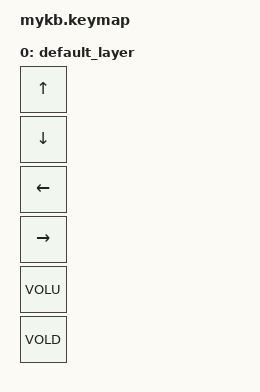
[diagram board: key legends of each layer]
#include <zmk/keys.h>
#include <zmk/behavior.h>

/ {
    keymap {
        compatible = "zmk,keymap";
        default_layer {
            bindings = <
                &kp UP
                &kp DOWN
                &kp LEFT
                &kp RIGHT
                &kp VOLU
                &kp VOLD
            >;
        };
    };
};
